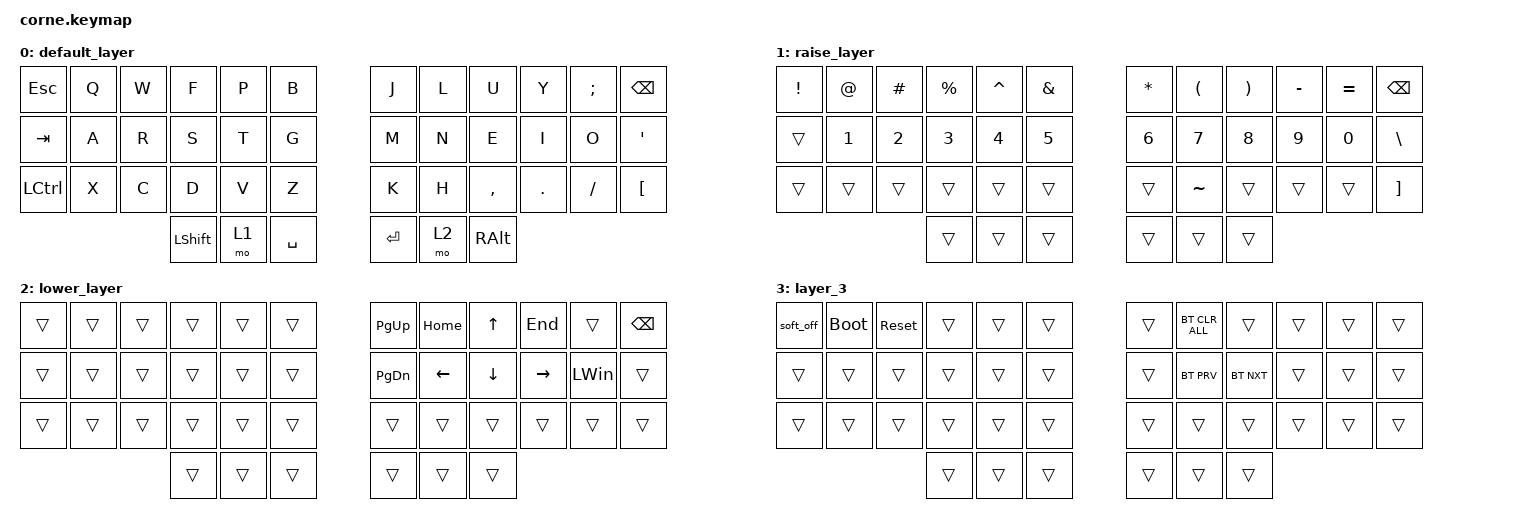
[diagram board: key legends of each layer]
/*
 * Copyright (c) 2020 The ZMK Contributors
 *
 * SPDX-License-Identifier: MIT
 */

#include <behaviors.dtsi>
#include <dt-bindings/zmk/bt.h>
#include <dt-bindings/zmk/keys.h>

/ {
    keymap {
        compatible = "zmk,keymap";

        default_layer {
            // -----------------------------------------------------------------------------------------
            // |  TAB |  Q  |  W  |  F  |  P  |  B  |   |  J  |  L   |  U  |  Y  |  ;  | BKSP |
            // | CTRL |  A  |  R  |  S  |  T  |  G  |   |  M  |  N   |  E  |  I  |  O  |  '   |
            // | SHFT |  X  |  C  |  D  |  V  |  Z  |   |  K  |  H   |  ,  |  .  |  /  | ESC  |
            //                    | GUI | LWR | SPC |   | ENT | RSE  | ALT |

            bindings = <
&kp ESC           &kp Q  &kp W  &kp F           &kp P  &kp B        &kp J      &kp L  &kp U      &kp Y    &kp SEMI  &kp BSPC
&kp TAB           &kp A  &kp R  &kp S           &kp T  &kp G        &kp M      &kp N  &kp E      &kp I    &kp O     &kp SQT
&kp LEFT_CONTROL  &kp X  &kp C  &kp D           &kp V  &kp Z        &kp K      &kp H  &kp COMMA  &kp DOT  &kp FSLH  &kp LEFT_BRACKET
                                &kp LEFT_SHIFT  &mo 1  &kp SPACE    &kp ENTER  &mo 2  &kp RALT
            >;
        };

        raise_layer {
            // -----------------------------------------------------------------------------------------
            // |  TAB |  !  |  @  |  #  |  $  |  %  |   |  ^  |  &  |  *  |  (  |  )  | BKSP |
            // | CTRL |     |     |     |     |     |   |  -  |  =  |  [  |  ]  |  \  |  `   |
            // | SHFT |     |     |     |     |     |   |  _  |  +  |  {  |  }  | "|" |  ~   |
            //                    | GUI |     | SPC |   | ENT |     | ALT |

            bindings = <
&kp EXCL  &kp AT  &kp HASH      &kp PRCNT     &kp CARET     &kp AMPERSAND    &kp STAR      &kp LEFT_PARENTHESIS  &kp RIGHT_PARENTHESIS  &kp MINUS     &kp EQUAL     &kp BSPC
&trans    &kp N1  &kp NUMBER_2  &kp NUMBER_3  &kp NUMBER_4  &kp NUMBER_5     &kp NUMBER_6  &kp NUMBER_7          &kp NUMBER_8           &kp NUMBER_9  &kp NUMBER_0  &kp BACKSLASH
&trans    &trans  &trans        &trans        &trans        &trans           &trans        &kp TILDE             &trans                 &trans        &trans        &kp RIGHT_BRACKET
                                &trans        &trans        &trans           &trans        &trans                &trans
            >;
        };

        lower_layer {
            // -----------------------------------------------------------------------------------------
            // |  TAB |  1  |  2  |  3  |  4  |  5  |   |  6  |  7  |  8  |  9  |  0  | BKSP |
            // | BTCLR| BT1 | BT2 | BT3 | BT4 | BT5 |   | LFT | DWN |  UP | RGT |     |      |
            // | SHFT |     |     |     |     |     |   |     |     |     |     |     |      |
            //                    | GUI |     | SPC |   | ENT |     | ALT |

            bindings = <
&trans  &trans  &trans  &trans  &trans  &trans    &kp PAGE_UP    &kp HOME        &kp UP    &kp END    &trans        &kp BSPC
&trans  &trans  &trans  &trans  &trans  &trans    &kp PAGE_DOWN  &kp LEFT_ARROW  &kp DOWN  &kp RIGHT  &kp LEFT_WIN  &trans
&trans  &trans  &trans  &trans  &trans  &trans    &trans         &trans          &trans    &trans     &trans        &trans
                        &trans  &trans  &trans    &trans         &trans          &trans
            >;
        };

        layer_3 {
            bindings = <
&soft_off  &bootloader  &sys_reset  &trans  &trans  &trans    &trans  &bt BT_CLR_ALL  &trans      &trans  &trans  &trans
&trans     &trans       &trans      &trans  &trans  &trans    &trans  &bt BT_PRV      &bt BT_NXT  &trans  &trans  &trans
&trans     &trans       &trans      &trans  &trans  &trans    &trans  &trans          &trans      &trans  &trans  &trans
                                    &trans  &trans  &trans    &trans  &trans          &trans
            >;
        };
    };

    conditional_layers {
        compatible = "zmk,conditional-layers";

        cond_3 {
            if-layers = <2 1>;
            then-layer = <3>;
        };
    };
};
